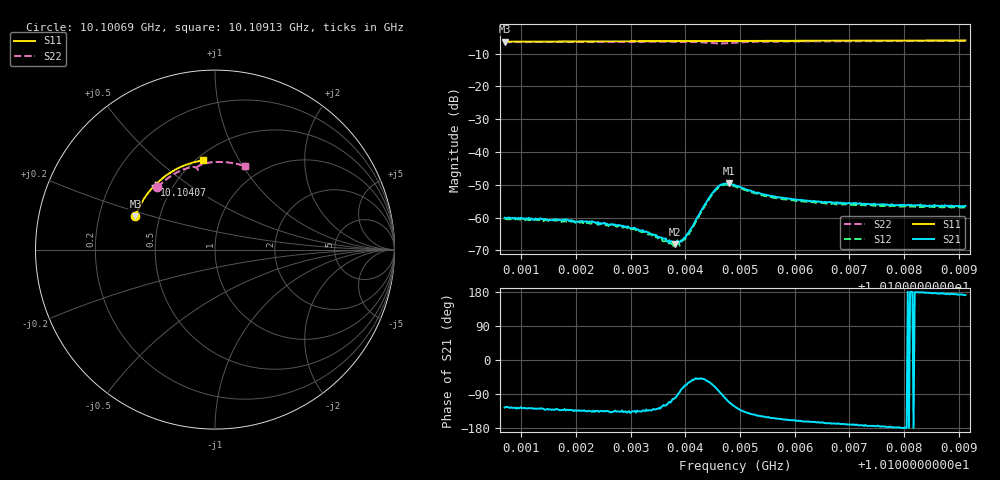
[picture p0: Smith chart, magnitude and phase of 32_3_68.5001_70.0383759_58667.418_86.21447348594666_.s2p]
#  HZ  S  RI  R  50.00
! Rohde & Schwarz Vector Network Analyzer
! Rohde-Schwarz,ZNB20-2Port,1311601062101988,3.16
! Created: UTC 3/20/2024, 5:05:08 PM
! freq[Hz]  re:S11  im:S11  re:S21  im:S21  re:S12  im:S12  re:S22  im:S22
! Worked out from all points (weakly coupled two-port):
!   401 points, 10.10069 GHz to 10.10913 GHz, reference 50 ohm
!   highest |S21| = -49.60 dB at 10.1048 GHz (marker M1); lowest = -68.2 dB at 10.10381 GHz (marker M2)
!   lowest |S11| = -6.4 dB at 10.10069 GHz (marker M3), VSWR 2.85, Z = 18.2 + j8.77 ohm
!   |S11| at or under -10 dB: nowhere
!   |S22| runs from -6.9 to -6.1 dB; largest |S21 - S12| = 0.00036
!   S11 on the Smith chart (normalised r, x): 10.10069 GHz: 0.36, +0.18; 10.10407 GHz: 0.40, +0.37; 10.10913 GHz: 0.54, +0.72
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1.0100692e10  -0.4434 0.1857  -0.000574 -0.000808  -0.00048 -0.000817  -0.3204 0.3484
1.0101536e10  -0.4237 0.2331  -0.000595 -0.000692  -0.000501 -0.00074  -0.2799 0.3849
1.010181e10  -0.4159 0.248  -0.000637 -0.000683  -0.000534 -0.000708  -0.2656 0.3957
1.0101978e10  -0.4111 0.257  -0.000586 -0.000643  -0.00052 -0.000658  -0.2568 0.4023
1.0102105e10  -0.4073 0.2637  -0.000611 -0.000641  -0.000544 -0.000679  -0.2498 0.4068
1.0102906e10  -0.381 0.3045  -0.000518 -0.000509  -0.000473 -0.000549  -0.2045 0.4338
1.0103264e10  -0.3678 0.322  -0.00043 -0.000431  -0.000374 -0.000453  -0.1825 0.444
1.0103517e10  -0.3581 0.3339  -0.000299 -0.0004  -0.000285 -0.000414  -0.1663 0.4504
1.0103749e10  -0.3487 0.3444  -0.00013 -0.000417  -8.62e-05 -0.000391  -0.1505 0.4556
1.0103813e10  -0.3462 0.3473  -6.66e-05 -0.000385  -3.5e-05 -0.000381  -0.146 0.4568
1.0103918e10  -0.3419 0.352  8.56e-05 -0.000438  0.000103 -0.000394  -0.1383 0.4583
1.0103981e10  -0.3392 0.3547  0.000188 -0.000457  0.000198 -0.000419  -0.1334 0.4593
1.0104066e10  -0.3356 0.3584  0.000306 -0.000508  0.000319 -0.000454  -0.1269 0.4598
1.0104382e10  -0.3218 0.3719  0.000981 -0.00137  0.00106 -0.00122  -0.1016 0.4547
1.0104529e10  -0.3153 0.3779  0.000898 -0.00239  0.00109 -0.00224  -0.0957 0.4457
1.0104656e10  -0.3096 0.3829  5.7e-05 -0.00318  0.000324 -0.00302  -0.0992 0.4406
1.0104803e10  -0.3029 0.3887  -0.00123 -0.00308  -0.00087 -0.00302  -0.1041 0.447
1.0104909e10  -0.2982 0.3928  -0.0017 -0.00259  -0.00141 -0.00261  -0.1023 0.4546
1.0105478e10  -0.2709 0.4142  -0.00194 -0.00108  -0.00176 -0.0012  -0.0657 0.4779
1.0106321e10  -0.2278 0.4413  -0.0017 -0.000508  -0.00161 -0.000643  -0.00834 0.4875
1.0107734e10  -0.1501 0.4766  -0.00156 -9.42e-05  -0.00145 -0.000239  0.0833 0.4845
1.0109125e10  -0.0686 0.4974  -0.00149 0.00023  -0.0014 7.14e-05  0.1699 0.4642
